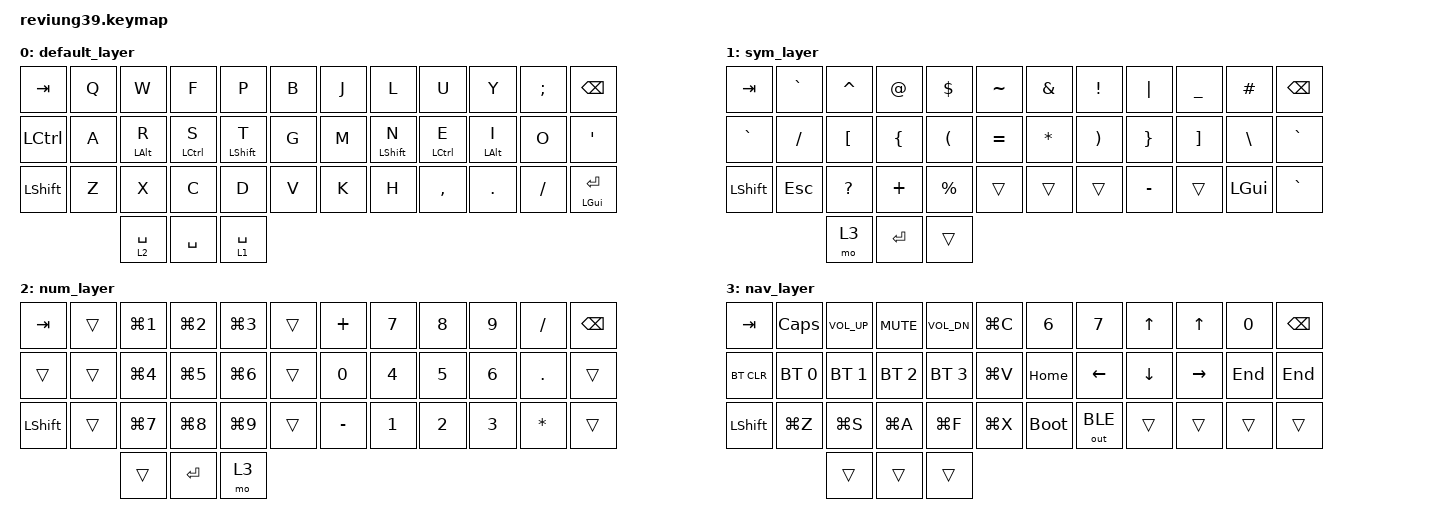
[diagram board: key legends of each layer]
/*
 * Copyright (c) 2020 The ZMK Contributors
 *
 * SPDX-License-Identifier: MIT
 */

#include <behaviors.dtsi>
#include <dt-bindings/zmk/keys.h>
#include <dt-bindings/zmk/bt.h>
#include <dt-bindings/zmk/outputs.h>

/ {
        keymap {
                compatible = "zmk,keymap";

                default_layer {
// -------------------------------------------------------------------------------------
// |  TAB |  Q  |  W  |  E  |  R  |  T  |   |  Y  |  U   |  I  |  O  |  P  |   BKSP    |
// | CTRL |  A  |  S  |  D  |  F  |  G  |   |  H  |  J   |  K  |  L  |  ;  |    '      |
// | SHFT |  Z  |  X  |  C  |  V  |  B  |   |  N  |  M   |  ,  |  .  |  /  | SHFT(RET) |
//                         | ALT | LWR | SPC | RSE  | ALT |
                        bindings = <
   &kp TAB   &kp Q &kp W        &kp F        &kp P        &kp B   &kp J &kp L         &kp U            &kp Y          &kp SEMI &kp BSPC
   &kp LCTRL &kp A &mt LALT R &mt LCTRL S &mt LSHIFT T &kp G   &kp M &mt LSHIFT N  &mt LCTRL E     &mt LALT I   &kp O    &kp SQT
   &kp LSHFT &kp Z &kp X        &kp C        &kp D        &kp V   &kp K &kp H         &kp COMMA        &kp DOT        &kp FSLH &mt LGUI RET
                        &lt 2 SPACE  &kp SPACE &lt 1 SPACE
                        >;
                };

                sym_layer {
// ----------------------------------------------------------------------------------
// |    |  !  |  @  |  #  |  $  |  %  |   |  ^  |  &  |  *  |  (  |  )  |    DEL    |
// |    |  _  |  +  |  {  |  }  | "|" |   | LFT | DWN |  UP | RGT |  `  |     ~     |
// |    | ESC | GUI | ALT | CAPS|  "  |   | HOME| END | PGUP| PGDN| PRSC| SHFT(RET) |
//                       |     |     | RET | ADJ |     |
                        bindings = <
      &kp TAB &kp GRAVE &kp CARET &kp AT    &kp DLLR  &kp TILDE   &kp AMPS &kp EXCL  &kp PIPE     &kp UNDER   &kp HASH &kp BSPC
      &kp GRAVE &kp FSLH  &kp LBKT  &kp LBRC  &kp LPAR  &kp EQUAL   &kp STAR &kp RPAR  &kp RBRC     &kp RBKT    &kp BSLH &kp GRAVE
      &kp LSHFT &kp ESC &kp QMARK &kp PLUS  &kp PRCNT &trans      &trans   &trans    &kp MINUS    &trans      &kp LGUI &kp GRAVE
                                 &mo 3      &kp RET       &trans        
                        >;
                };

                num_layer {
// -----------------------------------------------------------------------------------------
// |    |  1  |  2  |  3  |  4  |  5  |   |  6  |  7  |  8  |  9  |  0  | DEL |
// |    |  -  |  =  |  [  |  ]  |  \  |   | F1  | F2  | F3  | F4  | F5  | F6  |
// |    | ESC | GUI | ALT | CAPS|  "  |   | F7  | F8  | F9  | F10 | F11 | F12 |
//                       |     | ADJ | BKSP |    |     |
                        bindings = <
      &kp TAB    &trans &kp LG(N1)   &kp LG(N2)     &kp LG(N3)    &trans      &kp PLUS  &kp N7    &kp N8     &kp N9   &kp FSLH &kp BSPC
      &trans     &trans &kp LG(N4)   &kp LG(N5)     &kp LG(N6)    &trans      &kp N0    &kp N4    &kp N5     &kp N6   &kp DOT  &trans
      &kp LSHFT  &trans &kp LG(N7)   &kp LG(N8)     &kp LG(N9)    &trans      &kp MINUS &kp N1    &kp N2     &kp N3   &kp STAR &trans
                                     &trans         &kp RET         &mo 3   
                        >;
                };

                nav_layer {
// -----------------------------------------------------------------------------------------
// |    |  1  |  2  |  3  |  4  |  5  |   |  6  |  7  |  8  |  9  |  0  | DEL |
// |    |  -  |  =  |  [  |  ]  |  \  |   | F1  | F2  | F3  | F4  | F5  | F6  |
// |    | ESC | GUI | ALT | CAPS|  "  |   | F7  | F8  | F9  | F10 | F11 | F12 |
//                       |     | ADJ | BKSP |    |     |
                        bindings = <
   &kp TAB    &kp CAPS       &kp C_VOL_UP &kp C_MUTE   &kp C_VOL_DN &kp LG(C)      &kp N6   &kp N7   &kp UP    &kp UP     &kp N0    &kp BSPC
   &bt BT_CLR &bt BT_SEL 0   &bt BT_SEL 1 &bt BT_SEL 2 &bt BT_SEL 3 &kp LG(V)      &kp HOME &kp LEFT &kp DOWN  &kp RIGHT  &kp END   &kp END
   &kp LSHFT  &kp LG(Z)      &kp LG(S)    &kp LG(A)    &kp LG(F)    &kp LG(X)      &bootloader   &out OUT_BLE   &trans    &trans     &trans    &trans
                                &trans      &trans       &trans     
                        >;
                };
        };
};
